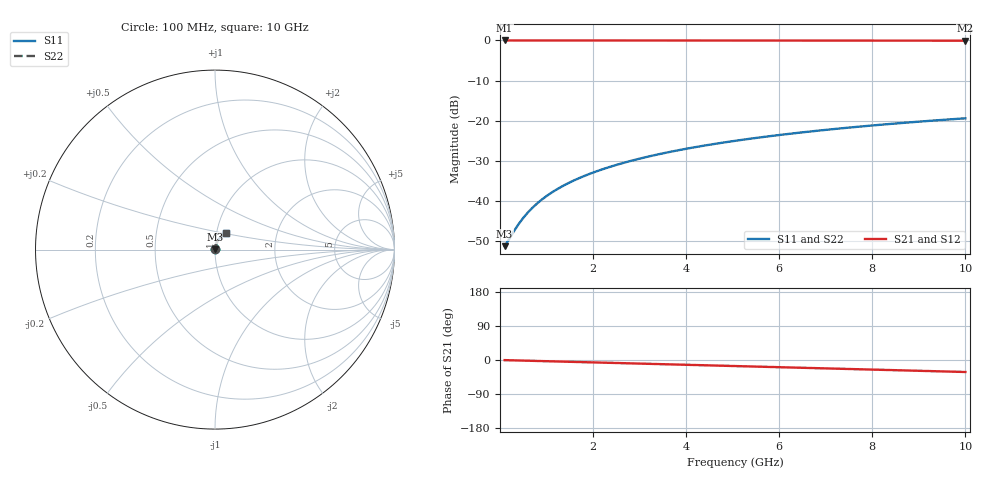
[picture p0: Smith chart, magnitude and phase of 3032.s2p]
# Hz S RI R 50.00
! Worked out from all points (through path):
!   100 points, 100 MHz to 10 GHz, reference 50 ohm
!   highest |S21| = -0.02 dB at 100 MHz (marker M1); lowest = -0.1 dB at 10 GHz (marker M2)
!   group delay of S21, straight-line fit = 8.8 ps
!   lowest |S11| = -51.2 dB at 100 MHz (marker M3), VSWR 1.01, Z = 50.3 + j0.112 ohm
!   |S11| at or under -10 dB: start of sweep to end of sweep
!   |S22| runs from -51.2 to -19.4 dB; largest |S21 - S12| = 0
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1e8  0.00253 0.00112  0.9975 -0.0055  0.9975 -0.0055  0.00253 0.00112
2e8  0.00256 0.00223  0.9974 -0.011  0.9974 -0.011  0.00256 0.00223
3e8  0.0026 0.00335  0.9973 -0.0165  0.9973 -0.0165  0.0026 0.00335
4e8  0.00265 0.00447  0.9972 -0.022  0.9972 -0.022  0.00265 0.00447
5e8  0.00272 0.00558  0.997 -0.0275  0.997 -0.0275  0.00272 0.00558
6e8  0.00279 0.0067  0.9968 -0.033  0.9968 -0.033  0.00279 0.0067
7e8  0.00288 0.00781  0.9966 -0.0385  0.9966 -0.0385  0.00288 0.00781
8e8  0.00297 0.00892  0.9964 -0.044  0.9964 -0.044  0.00297 0.00892
1e9  0.0032 0.0111  0.9958 -0.0549  0.9958 -0.0549  0.0032 0.0111
1.2e9  0.00348 0.0134  0.9951 -0.0659  0.9951 -0.0659  0.00348 0.0134
1.5e9  0.00399 0.0167  0.9938 -0.0824  0.9938 -0.0824  0.00399 0.0167
1.8e9  0.0046 0.02  0.9922 -0.0988  0.9922 -0.0988  0.0046 0.02
2.1e9  0.00532 0.0232  0.9903 -0.1152  0.9903 -0.1152  0.00532 0.0232
2.5e9  0.00645 0.0275  0.9874 -0.137  0.9874 -0.137  0.00645 0.0275
2.9e9  0.00777 0.0318  0.984 -0.1587  0.984 -0.1587  0.00777 0.0318
3.4e9  0.00968 0.037  0.979 -0.1858  0.979 -0.1858  0.00968 0.037
4.2e9  0.0133 0.0452  0.9695 -0.2288  0.9695 -0.2288  0.0133 0.0452
5.1e9  0.0183 0.0539  0.9564 -0.2765  0.9564 -0.2765  0.0183 0.0539
5.9e9  0.0234 0.0612  0.9427 -0.3183  0.9427 -0.3183  0.0234 0.0612
6.7e9  0.0291 0.068  0.9271 -0.3595  0.9271 -0.3595  0.0291 0.068
8.4e9  0.0432 0.0807  0.8879 -0.4443  0.8879 -0.4443  0.0432 0.0807
1e10  0.0585 0.0901  0.8437 -0.5203  0.8437 -0.5203  0.0585 0.0901
